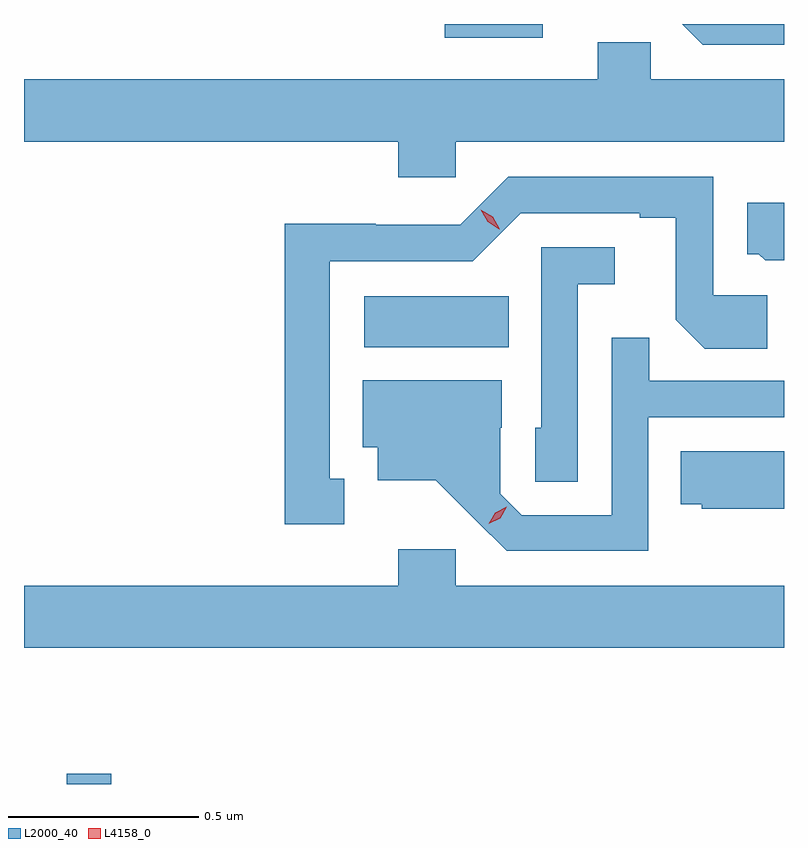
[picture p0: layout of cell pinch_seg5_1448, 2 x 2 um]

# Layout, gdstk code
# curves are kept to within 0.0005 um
import gdstk
lib = gdstk.Library(unit=1e-6, precision=1e-09)
def R(c, l, rs):  # rectangles x0, y0, x1, y1
    for r in rs: c.add(gdstk.rectangle(r[:2], r[2:], *l))
def P(c, l, *ps):  # polygons
    for p in ps: c.add(gdstk.Polygon(p, *l))
L2000_40 = (2000, 40)
L4158_0 = (4158, 0)

pinch_seg5_1448 = lib.new_cell('pinch_seg5_1448')
R(pinch_seg5_1448, L2000_40, [(146.582,903.022,146.699,903.049), (147.366,904.172,147.746,904.306), (147.577,904.986,147.835,905.022)])
P(pinch_seg5_1448, L2000_40, [(148.47,905.022),(148.202,905.022),(148.256,904.968),(148.47,904.968)],
  [(147.606,904.712),(148.47,904.712),(148.47,904.876),(148.119,904.876),(148.119,904.974),(147.98,904.974),(147.98,904.876),(146.47,904.876),(146.47,904.712),(147.455,904.712),(147.455,904.619),(147.606,904.619)],
  [(147.313,903.825),(147.274,903.825),(147.274,904.398),(147.651,904.398),(147.777,904.524),(148.091,904.524),(148.091,904.512),(148.185,904.512),(148.185,904.244),(148.261,904.168),(148.426,904.168),(148.426,904.308),(148.284,904.308),(148.284,904.62),(147.744,904.62),(147.618,904.494),(147.396,904.494),(147.396,904.496),(147.156,904.496),(147.156,903.705),(147.313,903.705)],
  [(148.47,904.552),(148.373,904.552),(148.373,904.416),(148.404,904.416),(148.42,904.4),(148.47,904.4)],
  [(147.927,904.337),(148.024,904.337),(148.024,904.434),(147.831,904.434),(147.831,903.96),(147.816,903.96),(147.816,903.817),(147.927,903.817)],
  [(148.113,903.987),(148.47,903.987),(148.47,904.083),(148.115,904.083),(148.115,904.196),(148.017,904.196),(148.017,903.729),(147.78,903.729),(147.723,903.786),(147.723,903.96),(147.727,903.96),(147.727,904.084),(147.362,904.084),(147.362,903.908),(147.401,903.908),(147.401,903.821),(147.553,903.821),(147.74,903.636),(148.113,903.636)],
  [(148.47,903.898),(148.198,903.898),(148.198,903.758),(148.254,903.758),(148.254,903.746),(148.47,903.746)],
  [(148.47,903.544),(147.606,903.544),(147.606,903.64),(147.455,903.64),(147.455,903.544),(146.47,903.544),(146.47,903.38),(148.47,903.38)])
P(pinch_seg5_1448, L4158_0, [(147.693,903.707),(147.693,903.707),(147.71,903.736),(147.74,903.752),(147.741,903.752),(147.741,903.752),(147.723,903.722),(147.693,903.707)],
  [(147.721,904.482),(147.69,904.501),(147.672,904.533),(147.672,904.533),(147.672,904.533),(147.704,904.515),(147.722,904.482),(147.722,904.482)])

lib.write_gds('pinch_seg5_1448.gds')
